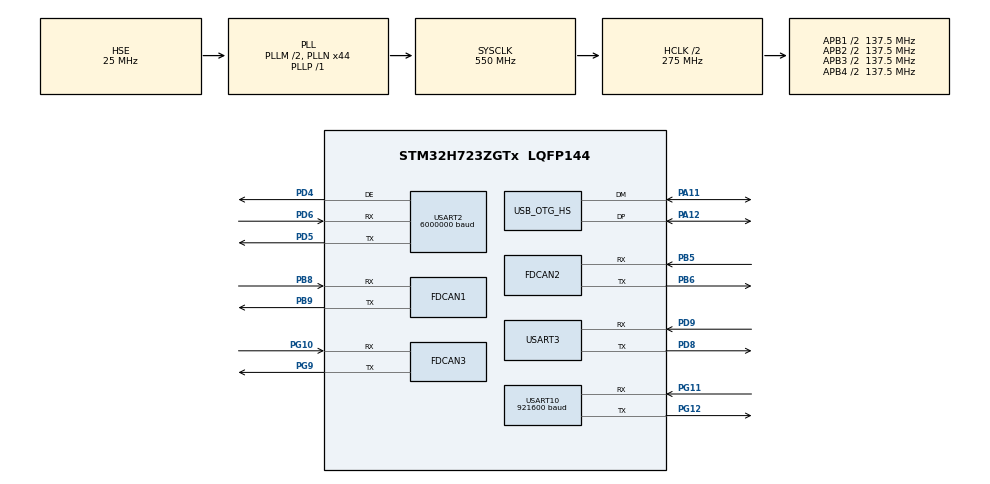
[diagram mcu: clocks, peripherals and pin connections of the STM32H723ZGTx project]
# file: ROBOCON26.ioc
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CORTEX_M7.default_mode_Activation=1
Dma.Request0=USART3_RX
Dma.Request1=USART3_TX
Dma.Request2=USART2_RX
Dma.Request3=USART2_TX
Dma.USART2_RX.2.Direction=DMA_PERIPH_TO_MEMORY
Dma.USART2_RX.2.EventEnable=DISABLE
Dma.USART2_RX.2.FIFOMode=DMA_FIFOMODE_DISABLE
Dma.USART2_RX.2.Instance=DMA1_Stream2
Dma.USART2_RX.2.MemDataAlignment=DMA_MDATAALIGN_BYTE
Dma.USART2_RX.2.MemInc=DMA_MINC_ENABLE
Dma.USART2_RX.2.Mode=DMA_CIRCULAR
Dma.USART2_RX.2.PeriphDataAlignment=DMA_PDATAALIGN_BYTE
Dma.USART2_RX.2.PeriphInc=DMA_PINC_DISABLE
Dma.USART2_RX.2.Polarity=HAL_DMAMUX_REQ_GEN_RISING
Dma.USART2_RX.2.Priority=DMA_PRIORITY_LOW
Dma.USART2_RX.2.RequestNumber=1
Dma.USART2_RX.2.SignalID=NONE
Dma.USART2_RX.2.SyncEnable=DISABLE
Dma.USART2_RX.2.SyncPolarity=HAL_DMAMUX_SYNC_NO_EVENT
Dma.USART2_RX.2.SyncRequestNumber=1
Dma.USART2_RX.2.SyncSignalID=NONE
Dma.USART2_TX.3.Direction=DMA_MEMORY_TO_PERIPH
Dma.USART2_TX.3.EventEnable=DISABLE
Dma.USART2_TX.3.FIFOMode=DMA_FIFOMODE_DISABLE
Dma.USART2_TX.3.Instance=DMA1_Stream3
Dma.USART2_TX.3.MemDataAlignment=DMA_MDATAALIGN_BYTE
Dma.USART2_TX.3.MemInc=DMA_MINC_ENABLE
Dma.USART2_TX.3.Mode=DMA_NORMAL
Dma.USART2_TX.3.PeriphDataAlignment=DMA_PDATAALIGN_BYTE
Dma.USART2_TX.3.PeriphInc=DMA_PINC_DISABLE
Dma.USART2_TX.3.Polarity=HAL_DMAMUX_REQ_GEN_RISING
Dma.USART2_TX.3.Priority=DMA_PRIORITY_LOW
Dma.USART2_TX.3.RequestNumber=1
Dma.USART2_TX.3.SignalID=NONE
Dma.USART2_TX.3.SyncEnable=DISABLE
Dma.USART2_TX.3.SyncPolarity=HAL_DMAMUX_SYNC_NO_EVENT
Dma.USART2_TX.3.SyncRequestNumber=1
Dma.USART2_TX.3.SyncSignalID=NONE
Dma.USART3_RX.0.Direction=DMA_PERIPH_TO_MEMORY
Dma.USART3_RX.0.EventEnable=DISABLE
Dma.USART3_RX.0.FIFOMode=DMA_FIFOMODE_DISABLE
Dma.USART3_RX.0.Instance=DMA1_Stream0
Dma.USART3_RX.0.MemDataAlignment=DMA_MDATAALIGN_BYTE
Dma.USART3_RX.0.MemInc=DMA_MINC_ENABLE
Dma.USART3_RX.0.Mode=DMA_CIRCULAR
Dma.USART3_RX.0.PeriphDataAlignment=DMA_PDATAALIGN_BYTE
Dma.USART3_RX.0.PeriphInc=DMA_PINC_DISABLE
Dma.USART3_RX.0.Polarity=HAL_DMAMUX_REQ_GEN_RISING
Dma.USART3_RX.0.Priority=DMA_PRIORITY_LOW
Dma.USART3_RX.0.RequestNumber=1
Dma.USART3_RX.0.SignalID=NONE
Dma.USART3_RX.0.SyncEnable=DISABLE
Dma.USART3_RX.0.SyncPolarity=HAL_DMAMUX_SYNC_NO_EVENT
Dma.USART3_RX.0.SyncRequestNumber=1
Dma.USART3_RX.0.SyncSignalID=NONE
Dma.USART3_TX.1.Direction=DMA_MEMORY_TO_PERIPH
Dma.USART3_TX.1.EventEnable=DISABLE
Dma.USART3_TX.1.FIFOMode=DMA_FIFOMODE_DISABLE
Dma.USART3_TX.1.Instance=DMA1_Stream1
Dma.USART3_TX.1.MemDataAlignment=DMA_MDATAALIGN_BYTE
Dma.USART3_TX.1.MemInc=DMA_MINC_ENABLE
Dma.USART3_TX.1.Mode=DMA_NORMAL
Dma.USART3_TX.1.PeriphDataAlignment=DMA_PDATAALIGN_BYTE
Dma.USART3_TX.1.PeriphInc=DMA_PINC_DISABLE
Dma.USART3_TX.1.Polarity=HAL_DMAMUX_REQ_GEN_RISING
Dma.USART3_TX.1.Priority=DMA_PRIORITY_LOW
Dma.USART3_TX.1.RequestNumber=1
Dma.USART3_TX.1.SignalID=NONE
Dma.USART3_TX.1.SyncEnable=DISABLE
Dma.USART3_TX.1.SyncPolarity=HAL_DMAMUX_SYNC_NO_EVENT
Dma.USART3_TX.1.SyncRequestNumber=1
Dma.USART3_TX.1.SyncSignalID=NONE
FDCAN1.CalculateBaudRateNominal=1000000
FDCAN1.CalculateTimeBitNominal=1000
FDCAN1.CalculateTimeQuantumNominal=40.0
FDCAN1.DataSyncJumpWidth=2
FDCAN1.DataTimeSeg1=15
FDCAN1.DataTimeSeg2=9
FDCAN1.ExtFiltersNbr=2
FDCAN1.NominalPrescaler=1
FDCAN1.NominalSyncJumpWidth=2
FDCAN1.NominalTimeSeg1=15
FDCAN1.NominalTimeSeg2=9
FDCAN1.RxFifo0ElmtsNbr=8
FDCAN1.RxFifo1ElmtsNbr=8
FDCAN1.StdFiltersNbr=2
FDCAN1.TxBuffersNbr=29
FDCAN1.TxFifoQueueElmtsNbr=3
FDCAN2.CalculateBaudRateNominal=1000000
FDCAN2.CalculateTimeBitNominal=1000
FDCAN2.CalculateTimeQuantumNominal=40.0
FDCAN2.DataSyncJumpWidth=2
FDCAN2.DataTimeSeg1=15
FDCAN2.DataTimeSeg2=9
FDCAN2.ExtFiltersNbr=2
FDCAN2.MessageRAMOffset=0x400
FDCAN2.NominalPrescaler=1
FDCAN2.NominalSyncJumpWidth=2
FDCAN2.NominalTimeSeg1=15
FDCAN2.NominalTimeSeg2=9
FDCAN2.RxFifo0ElmtsNbr=8
FDCAN2.RxFifo1ElmtsNbr=8
FDCAN2.StdFiltersNbr=2
FDCAN2.TxBuffersNbr=29
FDCAN2.TxFifoQueueElmtsNbr=3
FDCAN3.CalculateBaudRateNominal=1000000
FDCAN3.CalculateTimeBitNominal=1000
FDCAN3.CalculateTimeQuantumNominal=40.0
FDCAN3.DataSyncJumpWidth=2
FDCAN3.DataTimeSeg1=15
FDCAN3.DataTimeSeg2=9
FDCAN3.ExtFiltersNbr=2
FDCAN3.MessageRAMOffset=0x800
FDCAN3.NominalPrescaler=1
FDCAN3.NominalSyncJumpWidth=2
FDCAN3.NominalTimeSeg1=15
FDCAN3.NominalTimeSeg2=9
FDCAN3.RxFifo0ElmtsNbr=8
FDCAN3.RxFifo1ElmtsNbr=8
FDCAN3.StdFiltersNbr=2
FDCAN3.TxBuffersNbr=29
FDCAN3.TxFifoQueueElmtsNbr=3
FREERTOS.Tasks01=defaultTask,24,256,StartDefaultTask,Default,NULL,Dynamic,NULL,NULL
FREERTOS.configENABLE_FPU=1
Mcu.Family=STM32H7
Mcu.Name=STM32H723ZGTx
Mcu.Package=LQFP144
NVIC.DMA1_Stream0_IRQn=true\:5\:0\:false\:false\:true\:true\:false\:true\:true
NVIC.DMA1_Stream1_IRQn=true\:5\:0\:false\:false\:true\:true\:false\:true\:true
NVIC.DMA1_Stream2_IRQn=true\:5\:0\:false\:false\:true\:true\:false\:true\:true
NVIC.DMA1_Stream3_IRQn=true\:5\:0\:false\:false\:true\:true\:false\:true\:true
NVIC.FDCAN1_IT0_IRQn=true\:5\:0\:false\:false\:true\:true\:true\:true\:true
NVIC.FDCAN1_IT1_IRQn=true\:5\:0\:false\:false\:true\:true\:true\:true\:true
NVIC.FDCAN2_IT0_IRQn=true\:5\:0\:false\:false\:true\:true\:true\:true\:true
NVIC.FDCAN2_IT1_IRQn=true\:5\:0\:false\:false\:true\:true\:true\:true\:true
NVIC.FDCAN3_IT0_IRQn=true\:5\:0\:false\:false\:true\:true\:true\:true\:true
NVIC.FDCAN3_IT1_IRQn=true\:5\:0\:false\:false\:true\:true\:true\:true\:true
NVIC.OTG_HS_IRQn=true\:5\:0\:false\:false\:true\:true\:false\:true\:true
NVIC.PriorityGroup=NVIC_PRIORITYGROUP_4
NVIC.TIM6_DAC_IRQn=true\:15\:0\:false\:false\:true\:false\:false\:true\:true
NVIC.TimeBase=TIM6_DAC_IRQn
NVIC.TimeBaseIP=TIM6
NVIC.USART2_IRQn=true\:5\:0\:false\:false\:true\:true\:true\:true\:true
NVIC.USART3_IRQn=true\:5\:0\:false\:false\:true\:true\:true\:true\:true
PA11.Mode=Device_Only_FS
PA11.Signal=USB_OTG_HS_DM
PA12.Mode=Device_Only_FS
PA12.Signal=USB_OTG_HS_DP
PB5.Mode=FDCAN_Activate
PB5.Signal=FDCAN2_RX
PB6.Mode=FDCAN_Activate
PB6.Signal=FDCAN2_TX
PB8.Mode=FDCAN_Activate
PB8.Signal=FDCAN1_RX
PB9.Mode=FDCAN_Activate
PB9.Signal=FDCAN1_TX
PD4.Mode=Hardware Flow Control (RS485)
PD4.Signal=USART2_DE
PD5.Mode=Asynchronous
PD5.Signal=USART2_TX
PD6.Mode=Asynchronous
PD6.Signal=USART2_RX
PD8.Mode=Asynchronous
PD8.Signal=USART3_TX
PD9.Mode=Asynchronous
PD9.Signal=USART3_RX
PG10.Mode=FDCAN_Activate
PG10.Signal=FDCAN3_RX
PG11.Mode=Asynchronous
PG11.Signal=USART10_RX
PG12.Mode=Asynchronous
PG12.Signal=USART10_TX
PG9.Mode=FDCAN_Activate
PG9.Signal=FDCAN3_TX
PH0-OSC_IN.Mode=HSE-External-Oscillator
PH0-OSC_IN.Signal=RCC_OSC_IN
PH1-OSC_OUT.Mode=HSE-External-Oscillator
PH1-OSC_OUT.Signal=RCC_OSC_OUT
ProjectManager.HeapSize=0x1000
ProjectManager.StackSize=0x1500
ProjectManager.TargetToolchain=CMake
RCC.ADCFreq_Value=50390625
RCC.APB1Freq_Value=137500000
RCC.APB2Freq_Value=137500000
RCC.APB3Freq_Value=137500000
RCC.APB4Freq_Value=137500000
RCC.CortexFreq_Value=550000000
RCC.D1PPRE=RCC_APB3_DIV2
RCC.D2PPRE1=RCC_APB1_DIV2
RCC.D2PPRE2=RCC_APB2_DIV2
RCC.D3PPRE=RCC_APB4_DIV2
RCC.DIVM1=2
RCC.DIVN1=44
RCC.DIVP1=1
RCC.FDCANCLockSelection=RCC_FDCANCLKSOURCE_HSE
RCC.HCLKFreq_Value=275000000
RCC.HPRE=RCC_HCLK_DIV2
RCC.PLL2FRACN=0
RCC.PLL3FRACN=0
RCC.PLLFRACN=0
RCC.PLLSourceVirtual=RCC_PLLSOURCE_HSE
RCC.SYSCLKFreq_VALUE=550000000
RCC.SYSCLKSource=RCC_SYSCLKSOURCE_PLLCLK
RCC.USBCLockSelection=RCC_USBCLKSOURCE_HSI48
RCC.USBFreq_Value=48000000
USART10.BaudRate=921600
USART10.VirtualMode-Asynchronous=VM_ASYNC
USART2.BaudRate=6000000
USART2.VirtualMode-Asynchronous=VM_ASYNC
USART2.VirtualMode-Hardware\ Flow\ Control\ (RS485)=VM_ASYNC
USART3.VirtualMode-Asynchronous=VM_ASYNC
USB_DEVICE.CLASS_NAME_HS=CDC
USB_DEVICE.VirtualMode=Cdc
USB_DEVICE.VirtualModeHS=Cdc_HS
USB_OTG_HS.VirtualMode-Device_Only_FS=Device_Only_FS
VP_FREERTOS_VS_CMSIS_V2.Mode=CMSIS_V2
VP_MEMORYMAP_VS_MEMORYMAP.Mode=CurAppReg
VP_SYS_VS_tim6.Mode=TIM6
VP_USB_DEVICE_VS_USB_DEVICE_CDC_HS.Mode=CDC_HS
board=custom

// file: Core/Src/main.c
/* USER CODE BEGIN Header */
/**
  ******************************************************************************
  * @file           : main.c
  * @brief          : Main program body
  ******************************************************************************
  * @attention
  *
  * Copyright (c) 2026 STMicroelectronics.
  * All rights reserved.
  *
  * This software is licensed under terms that can be found in the LICENSE file
  * in the root directory of this software component.
  * If no LICENSE file comes with this software, it is provided AS-IS.
  *
  ******************************************************************************
  */
/* USER CODE END Header */
#include "main.h"
#include "FreeRTOS.h"
#include "cmsis_os2.h"
#include "dma.h"
#include "fdcan.h"
#include "usart.h"
#include "usb_device.h"
#include "gpio.h"

/* USER CODE BEGIN Includes */
#include "robot.h"
/* USER CODE END Includes */

void SystemClock_Config(void);
static void MPU_Config(void);
void MX_FREERTOS_Init(void);
/* USER CODE BEGIN PFP */
static void DMA_Memory_Init(void);

/* USER CODE END PFP */

int main(void)
{

  /* MPU Configuration--------------------------------------------------------*/
  MPU_Config();

  /* MCU Configuration--------------------------------------------------------*/

  /* Reset of all peripherals, Initializes the Flash interface and the Systick. */
  HAL_Init();

  /* USER CODE BEGIN Init */
  DMA_Memory_Init();
  /* USER CODE END Init */

  /* Configure the system clock */
  SystemClock_Config();

  /* Initialize all configured peripherals */
  MX_GPIO_Init();
  MX_DMA_Init();
  MX_FDCAN2_Init();
  MX_USART3_UART_Init();
  MX_USART2_UART_Init();
  MX_FDCAN1_Init();
  MX_FDCAN3_Init();
  MX_USART10_UART_Init();
  /* USER CODE BEGIN 2 */
  // MX_USB_DEVICE_Init();//要放前面，因为usb设备调用的HAL tick 来自 TIM6 中断，而 TIM6 中断优先级较低，如果放在后面，可能会因为任务启动阶段有临界区/屏蔽中断导致tick不走进而导致 USB 设备初始化失败。
  // osKernelInitialize();  /* Call init function for freertos objects (in cmsis_os2.c) */
  /* Robot_Init 统一在 MX_FREERTOS_Init 中调用，避免重复创建任务和通信对象。 */
  /* USER CODE END 2 */

  /* Init scheduler */
  osKernelInitialize();  /* Call init function for freertos objects (in cmsis_os2.c) */
  MX_FREERTOS_Init();

  /* Start scheduler */
  osKernelStart();

  /* We should never get here as control is now taken by the scheduler */

  /* Infinite loop */
  while (1)
  {

  }
}

void SystemClock_Config(void)
{
  RCC_OscInitTypeDef RCC_OscInitStruct = {0};
  RCC_ClkInitTypeDef RCC_ClkInitStruct = {0};

  /** Supply configuration update enable
  */
  HAL_PWREx_ConfigSupply(PWR_LDO_SUPPLY);

  /** Configure the main internal regulator output voltage
  */
  __HAL_PWR_VOLTAGESCALING_CONFIG(PWR_REGULATOR_VOLTAGE_SCALE0);

  while(!__HAL_PWR_GET_FLAG(PWR_FLAG_VOSRDY)) {}

  /** Initializes the RCC Oscillators according to the specified parameters
  * in the RCC_OscInitTypeDef structure.
  */
  RCC_OscInitStruct.OscillatorType = RCC_OSCILLATORTYPE_HSI48|RCC_OSCILLATORTYPE_HSE;
  RCC_OscInitStruct.HSEState = RCC_HSE_ON;
  RCC_OscInitStruct.HSI48State = RCC_HSI48_ON;
  RCC_OscInitStruct.PLL.PLLState = RCC_PLL_ON;
  RCC_OscInitStruct.PLL.PLLSource = RCC_PLLSOURCE_HSE;
  RCC_OscInitStruct.PLL.PLLM = 2;
  RCC_OscInitStruct.PLL.PLLN = 44;
  RCC_OscInitStruct.PLL.PLLP = 1;
  RCC_OscInitStruct.PLL.PLLQ = 2;
  RCC_OscInitStruct.PLL.PLLR = 2;
  RCC_OscInitStruct.PLL.PLLRGE = RCC_PLL1VCIRANGE_3;
  RCC_OscInitStruct.PLL.PLLVCOSEL = RCC_PLL1VCOWIDE;
  RCC_OscInitStruct.PLL.PLLFRACN = 0;
  if (HAL_RCC_OscConfig(&RCC_OscInitStruct) != HAL_OK)
  {
    Error_Handler();
  }

  /** Initializes the CPU, AHB and APB buses clocks
  */
  RCC_ClkInitStruct.ClockType = RCC_CLOCKTYPE_HCLK|RCC_CLOCKTYPE_SYSCLK
                              |RCC_CLOCKTYPE_PCLK1|RCC_CLOCKTYPE_PCLK2
                              |RCC_CLOCKTYPE_D3PCLK1|RCC_CLOCKTYPE_D1PCLK1;
  RCC_ClkInitStruct.SYSCLKSource = RCC_SYSCLKSOURCE_PLLCLK;
  RCC_ClkInitStruct.SYSCLKDivider = RCC_SYSCLK_DIV1;
  RCC_ClkInitStruct.AHBCLKDivider = RCC_HCLK_DIV2;
  RCC_ClkInitStruct.APB3CLKDivider = RCC_APB3_DIV2;
  RCC_ClkInitStruct.APB1CLKDivider = RCC_APB1_DIV2;
  RCC_ClkInitStruct.APB2CLKDivider = RCC_APB2_DIV2;
  RCC_ClkInitStruct.APB4CLKDivider = RCC_APB4_DIV2;

  if (HAL_RCC_ClockConfig(&RCC_ClkInitStruct, FLASH_LATENCY_3) != HAL_OK)
  {
    Error_Handler();
  }
}

/* USER CODE BEGIN 4 */
static void DMA_Memory_Init(void)
{
  /* DMA1/2 访问 D2 SRAM；该区域不缓存，避免 CPU 与 DMA 看到不同的数据。 */
  __HAL_RCC_D2SRAM1_CLK_ENABLE();
  __HAL_RCC_D2SRAM2_CLK_ENABLE();
  if ((SCB->CCR & SCB_CCR_DC_Msk) != 0U) {
    SCB_DisableDCache();
  }

  MPU_Region_InitTypeDef region = {0};
  region.Enable = MPU_REGION_ENABLE;
  region.Number = MPU_REGION_NUMBER1;
  region.BaseAddress = 0x30000000;
  region.Size = MPU_REGION_SIZE_32KB;
  region.TypeExtField = MPU_TEX_LEVEL1;
  region.AccessPermission = MPU_REGION_FULL_ACCESS;
  region.DisableExec = MPU_INSTRUCTION_ACCESS_DISABLE;
  region.IsShareable = MPU_ACCESS_SHAREABLE;
  region.IsCacheable = MPU_ACCESS_NOT_CACHEABLE;
  region.IsBufferable = MPU_ACCESS_NOT_BUFFERABLE;
  HAL_MPU_Disable();
  HAL_MPU_ConfigRegion(&region);
  HAL_MPU_Enable(MPU_PRIVILEGED_DEFAULT);
}

/* USER CODE END 4 */

 /* MPU Configuration */

void MPU_Config(void)
{
  MPU_Region_InitTypeDef MPU_InitStruct = {0};

  /* Disables the MPU */
  HAL_MPU_Disable();

  /** Initializes and configures the Region and the memory to be protected
  */
  MPU_InitStruct.Enable = MPU_REGION_ENABLE;
  MPU_InitStruct.Number = MPU_REGION_NUMBER0;
  MPU_InitStruct.BaseAddress = 0x0;
  MPU_InitStruct.Size = MPU_REGION_SIZE_4GB;
  MPU_InitStruct.SubRegionDisable = 0x87;
  MPU_InitStruct.TypeExtField = MPU_TEX_LEVEL0;
  MPU_InitStruct.AccessPermission = MPU_REGION_NO_ACCESS;
  MPU_InitStruct.DisableExec = MPU_INSTRUCTION_ACCESS_DISABLE;
  MPU_InitStruct.IsShareable = MPU_ACCESS_SHAREABLE;
  MPU_InitStruct.IsCacheable = MPU_ACCESS_NOT_CACHEABLE;
  MPU_InitStruct.IsBufferable = MPU_ACCESS_NOT_BUFFERABLE;

  HAL_MPU_ConfigRegion(&MPU_InitStruct);
  /* Enables the MPU */
  HAL_MPU_Enable(MPU_PRIVILEGED_DEFAULT);

}

void HAL_TIM_PeriodElapsedCallback(TIM_HandleTypeDef *htim)
{
  if (htim->Instance == TIM6)
  {
    HAL_IncTick();
  }
}

void Error_Handler(void)
{
  __disable_irq();
  while (1)
  {
  }
}

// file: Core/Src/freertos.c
/* USER CODE BEGIN Header */
/**
  ******************************************************************************
  * File Name          : freertos.c
  * Description        : Code for freertos applications
  ******************************************************************************
  * @attention
  *
  * Copyright (c) 2026 STMicroelectronics.
  * All rights reserved.
  *
  * This software is licensed under terms that can be found in the LICENSE file
  * in the root directory of this software component.
  * If no LICENSE file comes with this software, it is provided AS-IS.
  *
  ******************************************************************************
  */
/* USER CODE END Header */

#include "FreeRTOS.h"
#include "task.h"
#include "main.h"
#include "FreeRTOS.h"
#include "cmsis_os2.h"

/* USER CODE BEGIN Includes */
#include "robot.h"
/* USER CODE END Includes */

/* Definitions for defaultTask */
osThreadId_t defaultTaskHandle;
const osThreadAttr_t defaultTask_attributes = {
  .name = "defaultTask",
  .stack_size = 256 * 4,
  .priority = (osPriority_t) osPriorityNormal,
};

void StartDefaultTask(void *argument);

extern void MX_USB_DEVICE_Init(void);
void MX_FREERTOS_Init(void); /* (MISRA C 2004 rule 8.1) */

void MX_FREERTOS_Init(void) {

  /* Create the thread(s) */
  /* creation of defaultTask */
  defaultTaskHandle = osThreadNew(StartDefaultTask, NULL, &defaultTask_attributes);

  /* USER CODE BEGIN RTOS_THREADS */
  if (defaultTaskHandle == NULL) {
    Error_Handler();
  }
  Robot_Init();
  /* USER CODE END RTOS_THREADS */

}

void StartDefaultTask(void *argument)
{
  /* init code for USB_DEVICE */
  MX_USB_DEVICE_Init();
  for(;;)
  {
    osDelay(1);
  }
}
